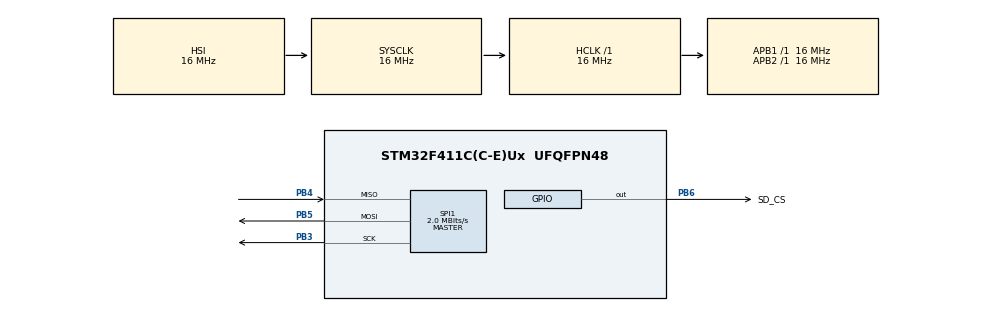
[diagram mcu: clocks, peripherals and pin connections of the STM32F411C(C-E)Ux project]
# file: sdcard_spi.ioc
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FATFS._MAX_SS=4096
FATFS._USE_LFN=1
Mcu.Family=STM32F4
Mcu.Name=STM32F411C(C-E)Ux
Mcu.Package=UFQFPN48
NVIC.PriorityGroup=NVIC_PRIORITYGROUP_4
PB3.Mode=Full_Duplex_Master
PB3.Signal=SPI1_SCK
PB4.Mode=Full_Duplex_Master
PB4.Signal=SPI1_MISO
PB5.Mode=Full_Duplex_Master
PB5.Signal=SPI1_MOSI
PB6.GPIO_Label=SD_CS
PB6.GPIO_Speed=GPIO_SPEED_FREQ_MEDIUM
PB6.PinState=GPIO_PIN_SET
PB6.Signal=GPIO_Output
ProjectManager.HeapSize=0x200
ProjectManager.StackSize=0x400
ProjectManager.TargetToolchain=STM32CubeIDE
RCC.AHBFreq_Value=16000000
RCC.APB1Freq_Value=16000000
RCC.APB2Freq_Value=16000000
RCC.CortexFreq_Value=16000000
RCC.HSE_VALUE=25000000
RCC.HSI_VALUE=16000000
RCC.LSE_VALUE=32768
RCC.SYSCLKFreq_VALUE=16000000
RCC.VCOOutputFreq_Value=192000000
SPI1.BaudRatePrescaler=SPI_BAUDRATEPRESCALER_8
SPI1.CalculateBaudRate=2.0 MBits/s
SPI1.Direction=SPI_DIRECTION_2LINES
SPI1.Mode=SPI_MODE_MASTER
SPI1.VirtualType=VM_MASTER
VP_FATFS_VS_Generic.Mode=User_defined
board=custom

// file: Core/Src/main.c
/* USER CODE BEGIN Header */
/**
  ******************************************************************************
  * @file           : main.c
  * @brief          : Main program body
  ******************************************************************************
  * @attention
  *
  * Copyright (c) 2025 STMicroelectronics.
  * All rights reserved.
  *
  * This software is licensed under terms that can be found in the LICENSE file
  * in the root directory of this software component.
  * If no LICENSE file comes with this software, it is provided AS-IS.
  *
  ******************************************************************************
  */
/* USER CODE END Header */
#include "main.h"
#include "fatfs.h"

SPI_HandleTypeDef hspi1;

/* USER CODE BEGIN PV */
FATFS fs;
FATFS *pfs;
FIL fil;
FRESULT fres;
DWORD fre_clust;
uint32_t totalSpace, freeSpace;
char buffer[100];
/* USER CODE END PV */

void SystemClock_Config(void);
static void MX_GPIO_Init(void);
static void MX_SPI1_Init(void);

int main(void)
{

  /* MCU Configuration--------------------------------------------------------*/

  /* Reset of all peripherals, Initializes the Flash interface and the Systick. */
  HAL_Init();

  /* Configure the system clock */
  SystemClock_Config();

  /* Initialize all configured peripherals */
  MX_GPIO_Init();
  MX_SPI1_Init();
  MX_FATFS_Init();
  /* USER CODE BEGIN 2 */

	/* Wait for SD module reset */
	/* Wait for SD module reset */
	HAL_Delay(500);

	/* Mount SD Card */
	if(f_mount(&fs, "", 0) != FR_OK)
	{
		while (1);
	}

	/* Open file to write */
	if(f_open(&fil, "first.txt", FA_OPEN_ALWAYS | FA_READ | FA_WRITE) != FR_OK)
	{
		while (1);
	}

	/* Check freeSpace space */
	if(f_getfree("", &fre_clust, &pfs) != FR_OK)
	{
		while (1);
	}

	totalSpace = (uint32_t)((pfs->n_fatent - 2) * pfs->csize * 0.5);
	freeSpace = (uint32_t)(fre_clust * pfs->csize * 0.5);

	/* free space is less than 1kb */
	if(freeSpace < 1)
	{
		while (1);
	}

	/* Writing text */
	f_puts("STM32 SD Card I/O Example via SPI\n", &fil);
	f_puts("Save the world!!!", &fil);

	/* Close file */
	if(f_close(&fil) != FR_OK)
	{
		while (1);
	}

	/* Unmount SDCARD */
	if(f_mount(NULL, "", 1) != FR_OK)
	{
		while (1);
	}

  /* USER CODE END 2 */

  /* Infinite loop */
  while (1)
  {

  }
}

void SystemClock_Config(void)
{
  RCC_OscInitTypeDef RCC_OscInitStruct = {0};
  RCC_ClkInitTypeDef RCC_ClkInitStruct = {0};

  /** Configure the main internal regulator output voltage
  */
  __HAL_RCC_PWR_CLK_ENABLE();
  __HAL_PWR_VOLTAGESCALING_CONFIG(PWR_REGULATOR_VOLTAGE_SCALE1);

  /** Initializes the RCC Oscillators according to the specified parameters
  * in the RCC_OscInitTypeDef structure.
  */
  RCC_OscInitStruct.OscillatorType = RCC_OSCILLATORTYPE_HSI;
  RCC_OscInitStruct.HSIState = RCC_HSI_ON;
  RCC_OscInitStruct.HSICalibrationValue = RCC_HSICALIBRATION_DEFAULT;
  RCC_OscInitStruct.PLL.PLLState = RCC_PLL_NONE;
  if (HAL_RCC_OscConfig(&RCC_OscInitStruct) != HAL_OK)
  {
    Error_Handler();
  }

  /** Initializes the CPU, AHB and APB buses clocks
  */
  RCC_ClkInitStruct.ClockType = RCC_CLOCKTYPE_HCLK|RCC_CLOCKTYPE_SYSCLK
                              |RCC_CLOCKTYPE_PCLK1|RCC_CLOCKTYPE_PCLK2;
  RCC_ClkInitStruct.SYSCLKSource = RCC_SYSCLKSOURCE_HSI;
  RCC_ClkInitStruct.AHBCLKDivider = RCC_SYSCLK_DIV1;
  RCC_ClkInitStruct.APB1CLKDivider = RCC_HCLK_DIV1;
  RCC_ClkInitStruct.APB2CLKDivider = RCC_HCLK_DIV1;

  if (HAL_RCC_ClockConfig(&RCC_ClkInitStruct, FLASH_LATENCY_0) != HAL_OK)
  {
    Error_Handler();
  }
}

static void MX_SPI1_Init(void)
{

  /* SPI1 parameter configuration*/
  hspi1.Instance = SPI1;
  hspi1.Init.Mode = SPI_MODE_MASTER;
  hspi1.Init.Direction = SPI_DIRECTION_2LINES;
  hspi1.Init.DataSize = SPI_DATASIZE_8BIT;
  hspi1.Init.CLKPolarity = SPI_POLARITY_LOW;
  hspi1.Init.CLKPhase = SPI_PHASE_1EDGE;
  hspi1.Init.NSS = SPI_NSS_SOFT;
  hspi1.Init.BaudRatePrescaler = SPI_BAUDRATEPRESCALER_8;
  hspi1.Init.FirstBit = SPI_FIRSTBIT_MSB;
  hspi1.Init.TIMode = SPI_TIMODE_DISABLE;
  hspi1.Init.CRCCalculation = SPI_CRCCALCULATION_DISABLE;
  hspi1.Init.CRCPolynomial = 10;
  if (HAL_SPI_Init(&hspi1) != HAL_OK)
  {
    Error_Handler();
  }

}

static void MX_GPIO_Init(void)
{
  GPIO_InitTypeDef GPIO_InitStruct = {0};

  /* GPIO Ports Clock Enable */
  __HAL_RCC_GPIOB_CLK_ENABLE();

  /*Configure GPIO pin Output Level */
  HAL_GPIO_WritePin(SD_CS_GPIO_Port, SD_CS_Pin, GPIO_PIN_SET);

  /*Configure GPIO pin : SD_CS_Pin */
  GPIO_InitStruct.Pin = SD_CS_Pin;
  GPIO_InitStruct.Mode = GPIO_MODE_OUTPUT_PP;
  GPIO_InitStruct.Pull = GPIO_NOPULL;
  GPIO_InitStruct.Speed = GPIO_SPEED_FREQ_MEDIUM;
  HAL_GPIO_Init(SD_CS_GPIO_Port, &GPIO_InitStruct);

}

void Error_Handler(void)
{
  __disable_irq();
  while (1)
  {
  }
}
